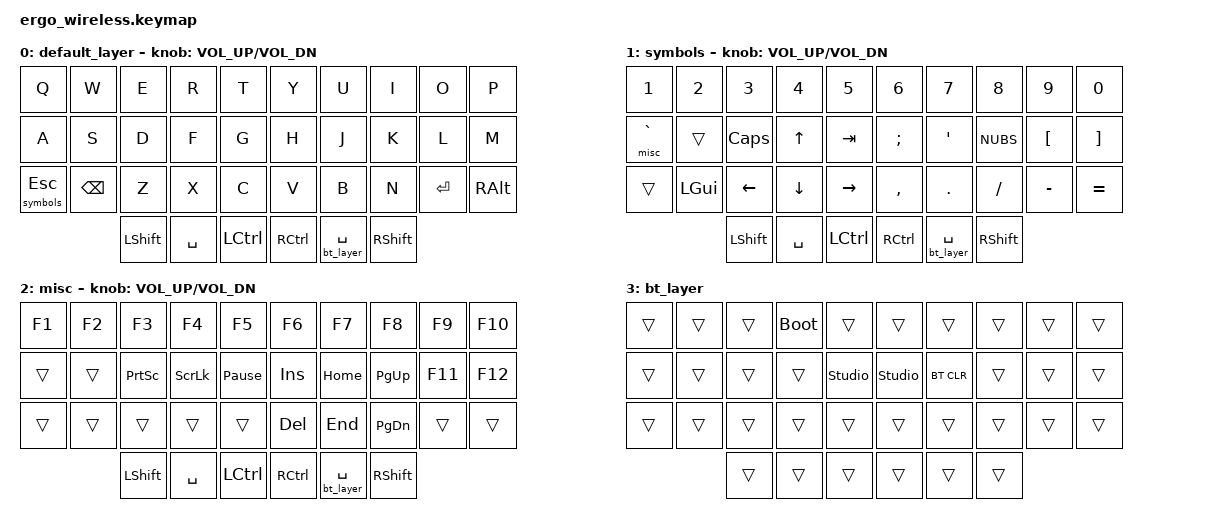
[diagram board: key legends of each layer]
#include <behaviors.dtsi>
#include <dt-bindings/zmk/keys.h>
#include <dt-bindings/zmk/bt.h>

/ {  
    keymap {
        compatible = "zmk,keymap";
        #define default_layout 0
        #define symbols 1
        #define misc 2
        #define bt_layer 3





        default_layer {
            bindings = <
                &kp Q      &kp W  &kp E  &kp R  &kp T  &kp Y  &kp U  &kp I  &kp O  &kp P
                &kp A      &kp S  &kp D  &kp F  &kp G  &kp H  &kp J  &kp K  &kp L  &kp M
                &lt symbols ESC  &kp BSPC  &kp Z  &kp X  &kp C  &kp V  &kp B  &kp N  &kp RET  &kp RALT
                
                              &kp LSHFT &kp SPACE &kp LCTRL  &kp RCTRL  &lt bt_layer SPACE  &kp RSHFT 


            >;
sensor-bindings = <&inc_dec_kp C_VOL_UP C_VOL_DN>;
        }; 

        symbols {
            bindings = <
                &kp N1  &kp N2  &kp N3  &kp N4  &kp N5  &kp N6  &kp N7  &kp N8  &kp N9  &kp N0
                &lt misc GRAVE  &trans   &kp CLCK  &kp UP  &kp TAB  &kp SEMI  &kp SQT  &kp NUBS  &kp LBKT  &kp RBKT
                &trans  &kp LGUI  &kp LEFT  &kp DOWN   &kp RIGHT  &kp COMMA  &kp DOT  &kp FSLH  &kp MINUS  &kp EQUAL
                
                               &kp LSHFT &kp SPACE &kp LCTRL  &kp RCTRL  &lt bt_layer SPACE  &kp RSHFT 


            >;
sensor-bindings = <&inc_dec_kp C_VOL_UP C_VOL_DN>;
        }; 
        misc {
            bindings = <
                &kp F1    &kp F2      &kp F3       &kp F4       &kp F5           &kp F6      &kp F7       &kp F8        &kp F9   &kp F10
                &trans    &trans      &kp PSCRN    &kp SLCK     &kp PAUSE_BREAK  &kp INS     &kp HOME     &kp PG_UP     &kp F11  &kp F12
                &trans    &trans      &trans       &trans       &trans           &kp DEL     &kp END      &kp PG_DN     &trans   &trans
                                      &kp LSHFT    &kp SPACE    &kp LCTRL        &kp RCTRL   &lt bt_layer SPACE  &kp RSHFT  


            >;
sensor-bindings = <&inc_dec_kp C_VOL_UP C_VOL_DN>;
        }; 
        
        bt_layer {
            bindings = <
                &trans     &trans     &trans     &bootloader      &trans     &trans           &trans      &trans     &trans     &trans
                &trans     &trans     &trans     &trans           &studio_unlock      &studio_unlock   &bt BT_CLR  &trans     &trans     &trans
                &trans     &trans     &trans     &trans           &trans     &trans           &trans      &trans     &trans     &trans
                                      &trans     &trans           &trans     &trans           &trans      &trans     
                                         
            >;
        };
    };
};
